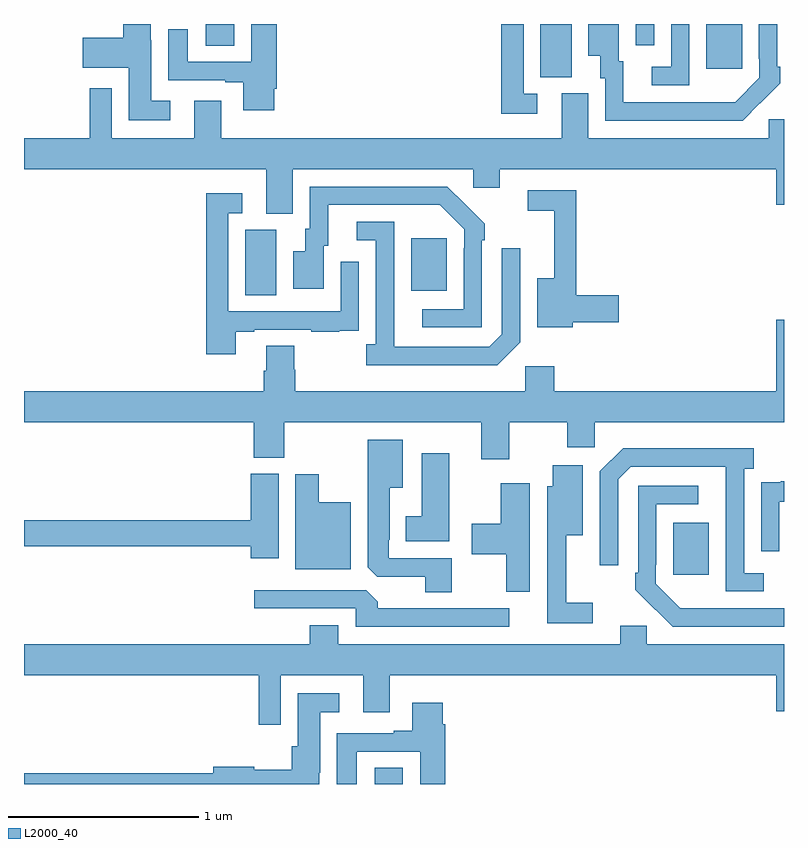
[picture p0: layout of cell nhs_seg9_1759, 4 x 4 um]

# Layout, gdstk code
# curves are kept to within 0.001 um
import gdstk
lib = gdstk.Library(unit=1e-6, precision=1e-09)
def R(c, l, rs):  # rectangles x0, y0, x1, y1
    for r in rs: c.add(gdstk.rectangle(r[:2], r[2:], *l))
def P(c, l, *ps):  # polygons
    for p in ps: c.add(gdstk.Polygon(p, *l))
L2000_40 = (2000, 40)

nhs_seg9_1759 = lib.new_cell('nhs_seg9_1759')
R(nhs_seg9_1759, L2000_40, [(210.845,1210.5,210.994,1210.586), (212.417,1211.601,212.605,1211.875), (210.164,1213.072,210.328,1213.416), (211.037,1213.097,211.225,1213.372), (211.718,1214.221,211.882,1214.5), (212.591,1214.265,212.779,1214.5), (209.957,1214.386,210.106,1214.5), (212.22,1214.388,212.316,1214.5)])
P(nhs_seg9_1759, L2000_40, [(210.316,1214.158),(210.329,1214.158),(210.329,1214.5),(210.197,1214.5),(210.197,1214.301),(209.863,1214.301),(209.863,1214.473),(209.759,1214.473),(209.759,1214.205),(210.059,1214.205),(210.059,1214.193),(210.155,1214.193),(210.155,1214.046),(210.316,1214.046)],
  [(211.702,1214.133),(211.629,1214.133),(211.629,1214.5),(211.513,1214.5),(211.513,1214.028),(211.702,1214.028)],
  [(212.873,1214.083),(212.874,1214.082),(212.979,1214.187),(212.979,1214.275),(212.964,1214.275),(212.964,1214.5),(212.868,1214.5),(212.868,1214.317),(212.871,1214.317),(212.871,1214.217),(212.743,1214.089),(212.639,1214.088),(212.155,1214.088),(212.155,1214.304),(212.131,1214.304),(212.131,1214.5),(211.97,1214.5),(211.97,1214.333),(212.033,1214.333),(212.033,1214.214),(212.058,1214.214),(212.058,1213.992),(212.782,1213.992)],
  [(209.77,1214.095),(209.671,1214.095),(209.671,1214.414),(209.667,1214.414),(209.667,1214.5),(209.522,1214.5),(209.522,1214.428),(209.31,1214.428),(209.31,1214.27),(209.552,1214.27),(209.552,1213.994),(209.77,1213.994)],
  [(212.502,1214.5),(212.406,1214.5),(212.406,1214.274),(212.304,1214.274),(212.304,1214.178),(212.502,1214.178)],
  [(210.415,1213.736),(211.365,1213.736),(211.365,1213.638),(211.504,1213.638),(211.504,1213.736),(212.96,1213.736),(212.96,1213.548),(213,1213.548),(213,1213.998),(212.919,1213.998),(212.919,1213.9),(211.969,1213.9),(211.969,1214.136),(211.829,1214.136),(211.829,1213.9),(210.037,1213.9),(210.037,1214.095),(209.897,1214.095),(209.897,1213.9),(209.463,1213.9),(209.463,1214.161),(209.347,1214.161),(209.347,1213.9),(209,1213.9),(209,1213.736),(210.275,1213.736),(210.275,1213.501),(210.415,1213.501)],
  [(211.41,1213.361),(211.425,1213.361),(211.425,1213.449),(211.228,1213.644),(210.504,1213.644),(210.504,1213.422),(210.479,1213.422),(210.479,1213.303),(210.416,1213.303),(210.416,1213.107),(210.577,1213.107),(210.577,1213.332),(210.601,1213.332),(210.601,1213.548),(211.189,1213.548),(211.317,1213.419),(211.317,1213.319),(211.314,1213.319),(211.314,1212.999),(211.095,1212.999),(211.095,1212.903),(211.41,1212.903)],
  [(211.888,1212.931),(212.131,1212.931),(212.131,1213.073),(211.907,1213.073),(211.907,1213.626),(211.65,1213.626),(211.65,1213.518),(211.79,1213.518),(211.79,1213.162),(211.7,1213.162),(211.7,1212.905),(211.888,1212.905)],
  [(210.115,1212.879),(210.211,1212.879),(210.211,1212.891),(210.511,1212.891),(210.511,1212.879),(210.659,1212.879),(210.659,1212.885),(210.761,1212.885),(210.761,1212.994),(210.762,1212.994),(210.762,1213.249),(210.666,1213.249),(210.666,1212.987),(210.075,1212.987),(210.075,1213.503),(210.148,1213.503),(210.148,1213.609),(209.959,1213.609),(209.959,1212.762),(210.115,1212.762)],
  [(211.611,1212.825),(211.611,1213.321),(211.515,1213.321),(211.515,1212.867),(211.449,1212.801),(210.949,1212.801),(210.948,1213.458),(210.75,1213.458),(210.75,1213.362),(210.852,1213.362),(210.852,1212.814),(210.801,1212.814),(210.801,1212.704),(211.49,1212.704)],
  [(211.554,1212.404),(211.858,1212.404),(211.858,1212.273),(212.004,1212.273),(212.004,1212.404),(213,1212.404),(213,1212.943),(212.96,1212.943),(212.96,1212.568),(211.79,1212.568),(211.79,1212.7),(211.638,1212.7),(211.638,1212.568),(210.428,1212.568),(210.428,1212.681),(210.423,1212.681),(210.423,1212.806),(210.275,1212.806),(210.275,1212.674),(210.263,1212.674),(210.263,1212.568),(209,1212.568),(209,1212.404),(210.209,1212.404),(210.209,1212.217),(210.369,1212.217),(210.369,1212.404),(211.406,1212.404),(211.406,1212.21),(211.554,1212.21)],
  [(211.252,1211.688),(210.921,1211.688),(210.921,1211.785),(210.925,1211.785),(210.925,1212.059),(210.994,1212.059),(210.994,1212.313),(210.809,1212.313),(210.809,1211.641),(210.858,1211.592),(211.112,1211.592),(211.112,1211.509),(211.252,1211.509)],
  [(212.893,1211.61),(212.79,1211.61),(212.79,1212.158),(212.842,1212.158),(212.842,1212.268),(212.154,1212.268),(212.031,1212.145),(212.031,1211.652),(212.127,1211.652),(212.127,1212.105),(212.193,1212.171),(212.693,1212.171),(212.694,1211.514),(212.893,1211.514)],
  [(211.237,1212.241),(211.094,1212.241),(211.094,1211.908),(211.01,1211.908),(211.01,1211.777),(211.237,1211.777)],
  [(211.993,1211.455),(211.853,1211.455),(211.853,1211.81),(211.942,1211.81),(211.942,1212.178),(211.784,1212.178),(211.784,1212.067),(211.755,1212.067),(211.755,1211.346),(211.993,1211.346)],
  [(210.34,1212.132),(210.194,1212.132),(210.194,1211.888),(209,1211.888),(209,1211.752),(210.194,1211.752),(210.194,1211.688),(210.34,1211.688)],
  [(210.721,1211.983),(210.55,1211.983),(210.55,1212.13),(210.428,1212.13),(210.428,1211.63),(210.721,1211.63)],
  [(212.976,1211.985),(213,1211.985),(213,1212.094),(212.983,1212.094),(212.983,1212.087),(212.881,1212.087),(212.881,1211.978),(212.88,1211.978),(212.88,1211.724),(212.976,1211.724)],
  [(211.663,1212.082),(211.508,1212.082),(211.508,1211.871),(211.356,1211.871),(211.356,1211.708),(211.538,1211.708),(211.538,1211.511),(211.663,1211.511)],
  [(213,1211.424),(212.454,1211.425),(212.325,1211.553),(212.325,1211.653),(212.328,1211.653),(212.328,1211.973),(212.548,1211.973),(212.548,1212.069),(212.232,1212.069),(212.232,1211.611),(212.217,1211.611),(212.217,1211.523),(212.414,1211.328),(213,1211.328)],
  [(211.555,1211.424),(210.863,1211.424),(210.863,1211.458),(210.801,1211.52),(210.213,1211.52),(210.213,1211.424),(210.747,1211.424),(210.747,1211.328),(211.555,1211.328)],
  [(210.351,1211.072),(210.785,1211.072),(210.785,1210.878),(210.925,1210.878),(210.925,1211.072),(212.96,1211.072),(212.96,1210.884),(213,1210.884),(213,1211.236),(212.277,1211.236),(212.277,1211.334),(212.138,1211.334),(212.138,1211.236),(210.655,1211.236),(210.655,1211.335),(210.503,1211.335),(210.503,1211.236),(209,1211.236),(209,1211.072),(210.235,1211.072),(210.235,1210.812),(210.351,1210.812)],
  [(210.555,1210.558),(210.559,1210.558),(210.559,1210.877),(210.658,1210.877),(210.658,1210.978),(210.44,1210.978),(210.44,1210.698),(210.41,1210.698),(210.41,1210.575),(210.213,1210.575),(210.213,1210.592),(209.997,1210.592),(209.997,1210.556),(209,1210.556),(209,1210.5),(210.555,1210.5)],
  [(210.751,1210.671),(211.085,1210.671),(211.085,1210.5),(211.217,1210.5),(211.217,1210.814),(211.204,1210.814),(211.204,1210.927),(211.043,1210.927),(211.043,1210.78),(210.947,1210.78),(210.947,1210.767),(210.647,1210.767),(210.647,1210.5),(210.751,1210.5)])

lib.write_gds('nhs_seg9_1759.gds')
